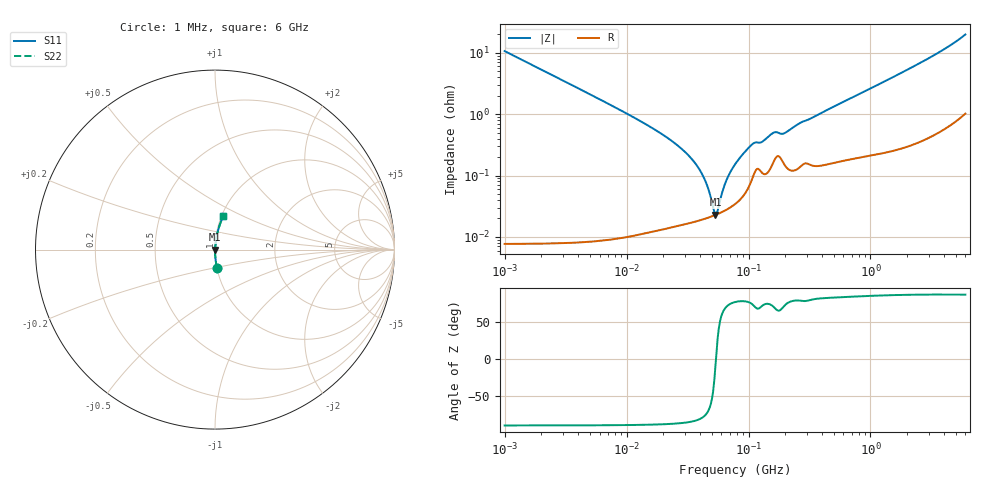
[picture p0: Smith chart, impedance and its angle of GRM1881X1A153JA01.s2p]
!Murata Part Number: GRM1881X1A153JA01
!These Parameters are Measured in Series Mode Connection
!Data Generated on Mar 30, 2021
!  o--ll--o
!Port1  Port2
!  o------o
!Operation Temp=25[degC], DC Bias Voltage=0[V]
!Freq. Start=1000[kHz] Stop=6[GHz] 401[Steps]
# Hz S RI R 50
!Freq.(Hz) S11(Real) S11(Imag) S21(Real) S21(Imag) S12(Real) S12(Imag) S22(Real) S22(Imag)
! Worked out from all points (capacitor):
!   401 points, 1 MHz to 6 GHz, reference 50 ohm
!   read as one part in series: C = 15 nF near 1.044 MHz
!   lowest |Z| = 23.1 mohm at 53.52 MHz (marker M1)
!   series resonance near 54.07 MHz, so ESL is about 580 pH
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1000000  0.0112 -0.1051  0.9888 0.1051  0.9888 0.1051  0.0112 -0.1051
4293785  0.000686 -0.0246  0.9993 0.0246  0.9993 0.0246  0.000686 -0.0246
1.843659e7  0.000154 -0.00507  0.9998 0.00507  0.9998 0.00507  0.000154 -0.00507
2.848316e7  0.000163 -0.00268  0.9998 0.00268  0.9998 0.00268  0.000163 -0.00268
3.779011e7  0.000183 -0.00143  0.9998 0.00143  0.9998 0.00143  0.000183 -0.00143
4.497189e7  0.000201 -0.000727  0.9998 0.000727  0.9998 0.000727  0.000201 -0.000727
5.124051e7  0.00022 -0.000212  0.9998 0.000212  0.9998 0.000212  0.00022 -0.000212
5.351853e7  0.000228 -4.05e-05  0.9998 4.05e-05  0.9998 4.05e-05  0.000228 -4.05e-05
5.589783e7  0.000236 0.000131  0.9998 -0.000131  0.9998 -0.000131  0.000236 0.000131
6.23192e7  0.000262 0.000565  0.9997 -0.000565  0.9997 -0.000565  0.000262 0.000565
6.652088e7  0.000281 0.00083  0.9997 -0.00083  0.9997 -0.00083  0.000281 0.00083
7.745967e7  0.000344 0.00148  0.9997 -0.00148  0.9997 -0.00148  0.000344 0.00148
9.218041e7  0.000492 0.00231  0.9995 -0.00231  0.9995 -0.00231  0.000492 0.00231
1.096987e8  0.00101 0.00318  0.999 -0.00318  0.999 -0.00318  0.00101 0.00318
1.277378e8  0.00114 0.0033  0.9989 -0.0033  0.9989 -0.0033  0.00114 0.0033
1.622626e8  0.00176 0.0047  0.9982 -0.0047  0.9982 -0.0047  0.00176 0.0047
1.973453e8  0.00151 0.00465  0.9985 -0.00465  0.9985 -0.00465  0.00151 0.00465
2.618284e8  0.0014 0.00694  0.9986 -0.00694  0.9986 -0.00694  0.0014 0.00694
3.325952e8  0.00152 0.00858  0.9985 -0.00858  0.9985 -0.00858  0.00152 0.00858
1.428092e9  0.00381 0.037  0.9962 -0.037  0.9962 -0.037  0.00381 0.037
3.408564e9  0.0132 0.092  0.9868 -0.092  0.9868 -0.092  0.0132 0.092
6e9  0.0466 0.1866  0.9534 -0.1866  0.9534 -0.1866  0.0466 0.1866
